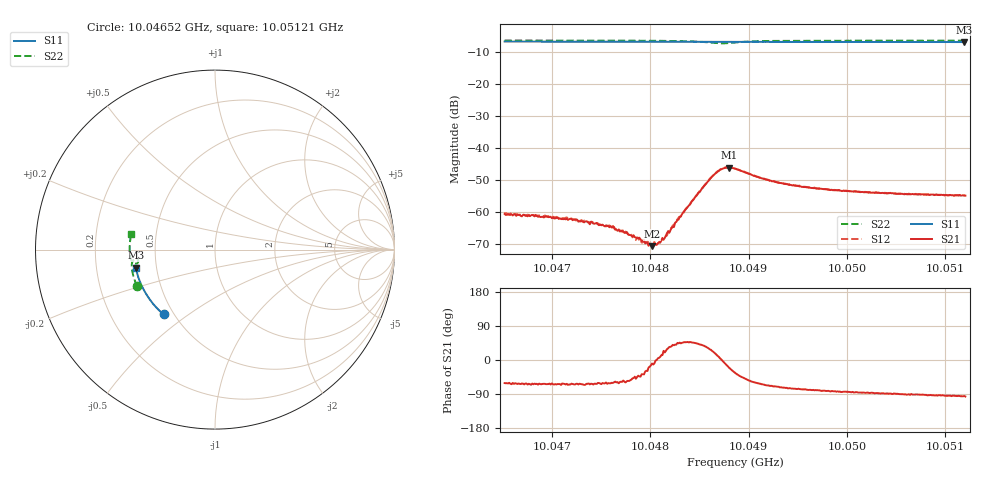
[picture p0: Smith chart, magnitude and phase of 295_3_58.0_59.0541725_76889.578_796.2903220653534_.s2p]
#  HZ  S  RI  R  50.00
! Rohde & Schwarz Vector Network Analyzer
! Rohde-Schwarz,ZNB20-2Port,1311601062101988,3.16
! Created: UTC 3/21/2024, 1:03:27 AM
! freq[Hz]  re:S11  im:S11  re:S21  im:S21  re:S12  im:S12  re:S22  im:S22
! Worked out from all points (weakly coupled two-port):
!   401 points, 10.04652 GHz to 10.05121 GHz, reference 50 ohm
!   highest |S21| = -46.08 dB at 10.0488 GHz (marker M1); lowest = -70.7 dB at 10.04802 GHz (marker M2)
!   lowest |S11| = -6.9 dB at 10.05119 GHz (marker M3), VSWR 2.65, Z = 19 - j4.85 ohm
!   |S11| at or under -10 dB: nowhere
!   |S22| runs from -7.3 to -6.4 dB; largest |S21 - S12| = 0.00038
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1.0046516e10  -0.2867 -0.3611  0.000454 -0.000818  0.000506 -0.000806  -0.4342 -0.2039
1.0046809e10  -0.3013 -0.3481  0.000386 -0.000794  0.000461 -0.000776  -0.4418 -0.1855
1.0047149e10  -0.3174 -0.3324  0.000357 -0.000698  0.000393 -0.000723  -0.4496 -0.1638
1.0047301e10  -0.3243 -0.3252  0.000314 -0.000649  0.000359 -0.000653  -0.4528 -0.1538
1.0047419e10  -0.3297 -0.3195  0.000283 -0.000597  0.000361 -0.000579  -0.455 -0.146
1.0047606e10  -0.3379 -0.3103  0.000285 -0.000496  0.00031 -0.000487  -0.4581 -0.133
1.0047747e10  -0.3439 -0.3031  0.000244 -0.000408  0.00029 -0.000401  -0.4606 -0.1232
1.0047935e10  -0.3517 -0.2935  0.000286 -0.000224  0.000308 -0.000184  -0.4627 -0.1091
1.0048017e10  -0.355 -0.2892  0.00029 -4.73e-05  0.000293 -4.05e-05  -0.4634 -0.1027
1.0048087e10  -0.3576 -0.2855  0.000334 3.41e-05  0.000326 7.93e-05  -0.4639 -0.0971
1.0048146e10  -0.36 -0.2825  0.000371 0.000134  0.00037 0.000186  -0.4638 -0.0923
1.0048216e10  -0.3629 -0.2788  0.00046 0.000342  0.000432 0.000371  -0.4639 -0.0862
1.0048275e10  -0.3651 -0.2756  0.000528 0.000531  0.0005 0.000584  -0.4634 -0.0809
1.0048626e10  -0.3777 -0.2562  0.00325 0.00147  0.00316 0.00169  -0.4388 -0.0529
1.004872e10  -0.3809 -0.2511  0.00466 0.000139  0.0047 0.000408  -0.4278 -0.062
1.0048802e10  -0.3836 -0.2467  0.00464 -0.00176  0.0048 -0.00142  -0.4312 -0.0746
1.0048861e10  -0.3856 -0.2434  0.00395 -0.00263  0.00416 -0.0024  -0.4393 -0.0785
1.0049224e10  -0.3977 -0.2227  0.00114 -0.00289  0.00131 -0.00281  -0.4686 -0.0529
1.0049646e10  -0.41 -0.1977  0.000432 -0.00234  0.000585 -0.00235  -0.4749 -0.0193
1.0050432e10  -0.4285 -0.1496  5.57e-05 -0.00198  0.000156 -0.00198  -0.4744 0.036
1.0051194e10  -0.4413 -0.1013  -0.000156 -0.0018  -8.69e-05 -0.00182  -0.4675 0.0868
1.0051205e10  -0.4415 -0.1005  -0.000197 -0.00179  -7.33e-05 -0.00182  -0.4674 0.0875
